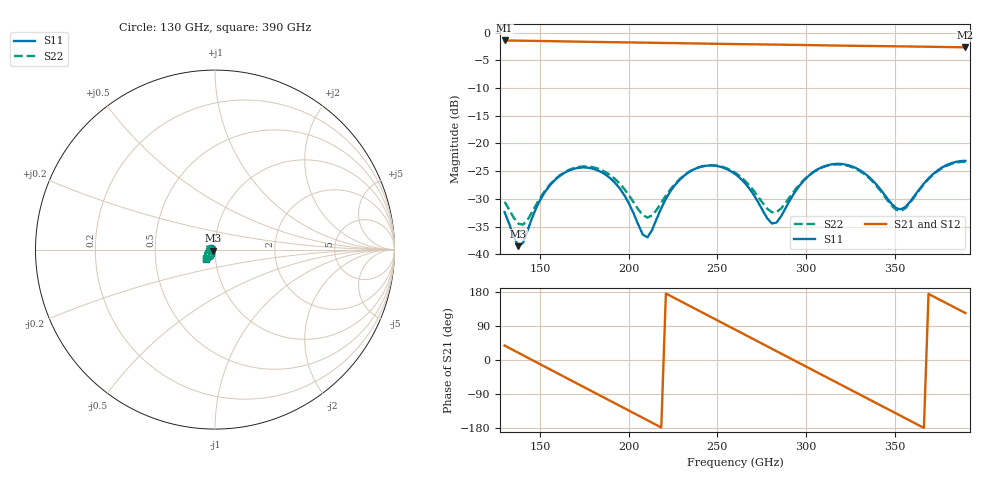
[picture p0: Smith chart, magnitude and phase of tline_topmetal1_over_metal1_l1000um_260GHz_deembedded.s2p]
! Created with skrf 2.2.0 (http://scikit-rf.org).
# GHz S DB R 50.0
! Port[1] = P1
! Port[2] = P2
!freq dBS11 angS11 dBS21 angS21 dBS12 angS12 dBS22 angS22
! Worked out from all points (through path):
!   101 points, 130 GHz to 390 GHz, reference 50 ohm
!   highest |S21| = -1.40 dB at 130 GHz (marker M1); lowest = -2.6 dB at 390 GHz (marker M2)
!   group delay of S21, straight-line fit = 6.77 ps
!   lowest |S11| = -38.5 dB at 137.8 GHz (marker M3), VSWR 1.02, Z = 49 - j0.605 ohm
!   |S11| at or under -10 dB: start of sweep to end of sweep
!   |S22| runs from -34.6 to -23.3 dB; largest |S21 - S12| = 9.4e-14
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130  -32.39 176.8  -1.40 38.1  -1.40 38.1  -30.51 -173.9
137.8  -38.54 -148.6  -1.44 19.0  -1.44 19.0  -34.49 -152.1
143  -35.67 -107.6  -1.46 6.2  -1.46 6.2  -33.75 -124.1
156  -27.39 -107.5  -1.53 -25.7  -1.53 -25.7  -27.26 -113.7
174.2  -24.33 -141.3  -1.63 -70.2  -1.63 -70.2  -24.14 -141.7
192.4  -27.13 -173.9  -1.72 -114.6  -1.72 -114.6  -26.44 -169.6
210.6  -36.93 -135.4  -1.80 -159.1  -1.80 -159.1  -33.37 -144.7
218.4  -31.65 -102.0  -1.84 -178.1  -1.84 -178.1  -30.70 -117.4
228.8  -26.54 -109.0  -1.89 156.4  -1.89 156.4  -26.42 -117.8
241.8  -24.12 -130.9  -1.96 124.7  -1.96 124.7  -24.09 -135.6
260  -25.49 -162.1  -2.05 80.4  -2.05 80.4  -25.27 -163.1
270.4  -29.18 -171.4  -2.10 55.1  -2.10 55.1  -28.46 -170.1
280.8  -34.44 -143.5  -2.14 29.7  -2.14 29.7  -32.41 -147.9
291.2  -30.11 -104.3  -2.19 4.3  -2.19 4.3  -29.53 -116.0
304.2  -25.17 -113.3  -2.25 -27.4  -2.25 -27.4  -25.17 -121.3
317.2  -23.67 -133.6  -2.32 -59.0  -2.32 -59.0  -23.77 -139.8
327.6  -24.34 -149.6  -2.36 -84.3  -2.36 -84.3  -24.48 -155.1
338  -26.79 -160.5  -2.41 -109.6  -2.41 -109.6  -26.98 -165.4
348.4  -30.92 -151.6  -2.45 -134.9  -2.45 -134.9  -31.22 -155.7
356.2  -31.44 -121.8  -2.48 -153.9  -2.48 -153.9  -31.68 -124.7
369.2  -26.30 -107.4  -2.54 174.4  -2.54 174.4  -26.42 -110.5
390  -23.14 -133.1  -2.64 123.9  -2.64 123.9  -23.31 -136.9
